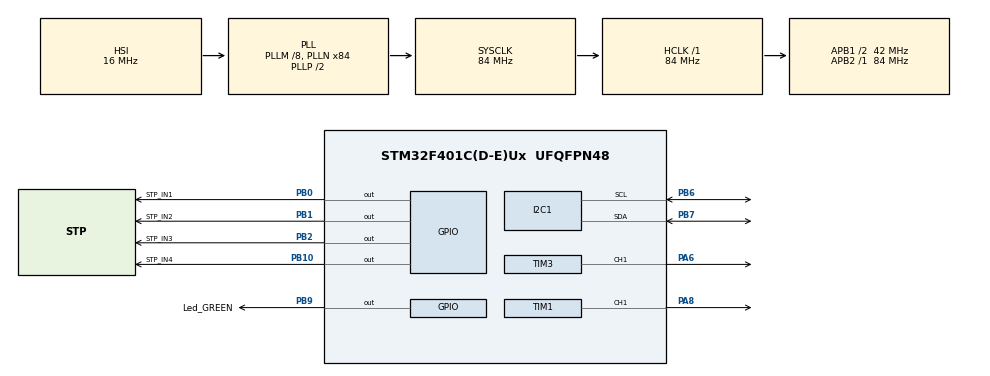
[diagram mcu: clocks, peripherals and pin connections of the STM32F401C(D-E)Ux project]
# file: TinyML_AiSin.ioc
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I2C1.I2C_Mode=I2C_Fast
Mcu.Family=STM32F4
Mcu.Name=STM32F401C(D-E)Ux
Mcu.Package=UFQFPN48
NVIC.PriorityGroup=NVIC_PRIORITYGROUP_4
NVIC.TIM1_BRK_TIM9_IRQn=true\:0\:0\:false\:false\:true\:true\:true\:true
NVIC.TIM1_CC_IRQn=true\:0\:0\:false\:false\:true\:true\:true\:true
NVIC.TIM1_TRG_COM_TIM11_IRQn=true\:0\:0\:false\:false\:true\:true\:true\:true
NVIC.TIM1_UP_TIM10_IRQn=true\:0\:0\:false\:false\:true\:true\:true\:true
PA13.Mode=Serial_Wire
PA13.Signal=SYS_JTMS-SWDIO
PA14.Mode=Serial_Wire
PA14.Signal=SYS_JTCK-SWCLK
PA6.GPIO_ModeDefaultPP=GPIO_MODE_AF_PP
PA6.GPIO_PuPd=GPIO_NOPULL
PA6.Signal=S_TIM3_CH1
PA8.Signal=S_TIM1_CH1
PB0.GPIO_Label=STP_IN1
PB0.Signal=GPIO_Output
PB1.GPIO_Label=STP_IN2
PB1.Signal=GPIO_Output
PB10.GPIO_Label=STP_IN4
PB10.Signal=GPIO_Output
PB2.GPIO_Label=STP_IN3
PB2.Signal=GPIO_Output
PB6.Mode=I2C
PB6.Signal=I2C1_SCL
PB7.Mode=I2C
PB7.Signal=I2C1_SDA
PB9.GPIO_Label=Led_GREEN
PB9.GPIO_ModeDefaultOutputPP=GPIO_MODE_OUTPUT_PP
PB9.Signal=GPIO_Output
PH0\ -\ OSC_IN.Mode=HSE-External-Oscillator
PH0\ -\ OSC_IN.Signal=RCC_OSC_IN
PH1\ -\ OSC_OUT.Mode=HSE-External-Oscillator
PH1\ -\ OSC_OUT.Signal=RCC_OSC_OUT
ProjectManager.HeapSize=0x800
ProjectManager.StackSize=0x800
ProjectManager.TargetToolchain=STM32CubeIDE
RCC.48MHZClocksFreq_Value=42000000
RCC.AHBFreq_Value=84000000
RCC.APB1CLKDivider=RCC_HCLK_DIV2
RCC.APB1Freq_Value=42000000
RCC.APB1TimFreq_Value=84000000
RCC.APB2Freq_Value=84000000
RCC.APB2TimFreq_Value=84000000
RCC.CortexFreq_Value=84000000
RCC.HCLKFreq_Value=84000000
RCC.HSE_VALUE=25000000
RCC.HSI_VALUE=16000000
RCC.LSE_VALUE=32768
RCC.PLLM=8
RCC.PLLN=84
RCC.SYSCLKFreq_VALUE=84000000
RCC.SYSCLKSource=RCC_SYSCLKSOURCE_PLLCLK
RCC.VCOOutputFreq_Value=168000000
SH.S_TIM1_CH1.0=TIM1_CH1,Output Compare1 CH1
SH.S_TIM3_CH1.0=TIM3_CH1,PWM Generation1 CH1
STMicroelectronics.X-CUBE-AI.10.2.0.ActivationBufferSizeList=2264
STMicroelectronics.X-CUBE-AI.10.2.0.ActivationBuffers=pool0
STMicroelectronics.X-CUBE-AI.10.2.0.ActivationNames=pool0
STMicroelectronics.X-CUBE-AI.10.2.0.ActivationSizes=AI_SINE_MODEL_OWN_DATA_ACTIVATION_1_SIZE
STMicroelectronics.X-CUBE-AI.10.2.0.HeapSize=0x800
STMicroelectronics.X-CUBE-AI.10.2.0.InternalRamActivationBufferMaxSize=AI_SINE_MODEL_OWN_DATA_ACTIVATIONS_SIZE
STMicroelectronics.X-CUBE-AI.10.2.0.LatestDirectoryUsed-19e0198becab38a640acdebe623655421296ad438e8c394f98320da885acce7a=C\:\\Users\\21syl\\Downloads
STMicroelectronics.X-CUBE-AI.10.2.0.MaximumNumberOfInputLayer=1
STMicroelectronics.X-CUBE-AI.10.2.0.MaximumNumberOfOutputLayer=1
STMicroelectronics.X-CUBE-AI.10.2.0.MaximumSizeOfInputLayer=1
STMicroelectronics.X-CUBE-AI.10.2.0.MaximumSizeOfOutputLayer=1
STMicroelectronics.X-CUBE-AI.10.2.0.ModelActualCompression-19e0198becab38a640acdebe623655421296ad438e8c394f98320da885acce7a=0.0
STMicroelectronics.X-CUBE-AI.10.2.0.ModelCompression-19e0198becab38a640acdebe623655421296ad438e8c394f98320da885acce7a=None
STMicroelectronics.X-CUBE-AI.10.2.0.ModelFlashOccupation-19e0198becab38a640acdebe623655421296ad438e8c394f98320da885acce7a=21853
STMicroelectronics.X-CUBE-AI.10.2.0.ModelHashList=19e0198becab38a640acdebe623655421296ad438e8c394f98320da885acce7a
STMicroelectronics.X-CUBE-AI.10.2.0.ModelKind-19e0198becab38a640acdebe623655421296ad438e8c394f98320da885acce7a=TFLITE
STMicroelectronics.X-CUBE-AI.10.2.0.ModelMacc-19e0198becab38a640acdebe623655421296ad438e8c394f98320da885acce7a=325
STMicroelectronics.X-CUBE-AI.10.2.0.ModelName-19e0198becab38a640acdebe623655421296ad438e8c394f98320da885acce7a=sine_model_own
STMicroelectronics.X-CUBE-AI.10.2.0.ModelNameList=sine_model_own
STMicroelectronics.X-CUBE-AI.10.2.0.ModelRamOccupation-19e0198becab38a640acdebe623655421296ad438e8c394f98320da885acce7a=2264
STMicroelectronics.X-CUBE-AI.10.2.0.ModelStructureFile-19e0198becab38a640acdebe623655421296ad438e8c394f98320da885acce7a=C\:\\Users\\21syl\\Downloads\\sine_model_quantized (1).tflite
STMicroelectronics.X-CUBE-AI.10.2.0.ModelType-19e0198becab38a640acdebe623655421296ad438e8c394f98320da885acce7a=STM32Cube.AI MCU runtime
STMicroelectronics.X-CUBE-AI.10.2.0.ReadyForCodeGeneration=true
STMicroelectronics.X-CUBE-AI.10.2.0.StackSize=0x800
STMicroelectronics.X-CUBE-AI.10.2.0.WorkingBufferStartAddrList=0xFFFFFFFF
STMicroelectronics.X-CUBE-AI.10.2.0.XAaCUBEAaAICcArtificialOoIntelligenceJjCore=true
STMicroelectronics.X-CUBE-AI.10.2.0.copyWeightToRam-19e0198becab38a640acdebe623655421296ad438e8c394f98320da885acce7a=false
STMicroelectronics.X-CUBE-AI.10.2.0.customLayerConfigEnabled-19e0198becab38a640acdebe623655421296ad438e8c394f98320da885acce7a=false
STMicroelectronics.X-CUBE-AI.10.2.0.noOnnxIoTranspose-19e0198becab38a640acdebe623655421296ad438e8c394f98320da885acce7a=false
STMicroelectronics.X-CUBE-AI.10.2.0.useInputAllocation-19e0198becab38a640acdebe623655421296ad438e8c394f98320da885acce7a=true
STMicroelectronics.X-CUBE-AI.10.2.0.useOutputAllocation-19e0198becab38a640acdebe623655421296ad438e8c394f98320da885acce7a=true
TIM1.AutoReloadPreload=TIM_AUTORELOAD_PRELOAD_ENABLE
TIM1.Channel-Output\ Compare1\ CH1=TIM_CHANNEL_1
TIM1.Period=33601
TIM1.Prescaler=49
TIM11.AutoReloadPreload=TIM_AUTORELOAD_PRELOAD_ENABLE
TIM11.Period=0xffff-1
TIM11.Prescaler=83
TIM3.AutoReloadPreload=TIM_AUTORELOAD_PRELOAD_ENABLE
TIM3.Channel-PWM\ Generation1\ CH1=TIM_CHANNEL_1
TIM3.OCMode_PWM-PWM\ Generation1\ CH1=TIM_OCMODE_PWM2
TIM3.Period=999
TIM3.Prescaler=83
VP_CRC_VS_CRC.Mode=CRC_Activate
VP_STMicroelectronics.X-CUBE-AI_VS_ArtificialOoIntelligenceJjXAaCUBEAaAI_10.2.0.Mode=ArtificialOoIntelligenceJjXAaCUBEAaAI
VP_TIM11_VS_ClockSourceINT.Mode=Enable_Timer
VP_TIM1_VS_ClockSourceINT.Mode=Internal
VP_TIM3_VS_ClockSourceINT.Mode=Internal
board=custom

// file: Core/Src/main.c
/* USER CODE BEGIN Header */
/**
  ******************************************************************************
  * @file           : main.c
  * @brief          : Main program body
  ******************************************************************************
  * @attention
  *
  * Copyright (c) 2025 STMicroelectronics.
  * All rights reserved.
  *
  * This software is licensed under terms that can be found in the LICENSE file
  * in the root directory of this software component.
  * If no LICENSE file comes with this software, it is provided AS-IS.
  *
  ******************************************************************************
  */
/* USER CODE END Header */
#include "main.h"

/* USER CODE BEGIN Includes */
#include "fonts.h"
#include "ssd1306.h"
#include "stdio.h"

#include "ai_datatypes_defines.h"
#include "ai_platform.h"
#include "sine_model_own.h"
#include "sine_model_own_data.h"
#include <math.h>

/* USER CODE END Includes */

CRC_HandleTypeDef hcrc;

I2C_HandleTypeDef hi2c1;

TIM_HandleTypeDef htim1;
TIM_HandleTypeDef htim3;
TIM_HandleTypeDef htim11;

void SystemClock_Config(void);
static void MX_GPIO_Init(void);
static void MX_CRC_Init(void);
static void MX_I2C1_Init(void);
static void MX_TIM1_Init(void);
static void MX_TIM11_Init(void);
static void MX_TIM3_Init(void);

/* USER CODE BEGIN 0 */

#define G_W (SSD1306_WIDTH)
#define G_H (SSD1306_HEIGHT)

static int16_t g_y[G_W];
static uint16_t g_head = 0;

static inline int clampi(int v, int lo, int hi) { return (v<lo)?lo:((v>hi)?hi:v); } // ogranicznik wartosci min/max

void Graph_Init(void)
{
    for (int i = 0; i < G_W; ++i) g_y[i] = G_H/2;
    g_head = 0;
    SSD1306_Clear();
    SSD1306_UpdateScreen();
}

void Graph_PushAndDraw(float y, float y_min, float y_max, const char *label, uint32_t dur)
{
    float norm = (y - y_min) / (y_max - y_min);
    int py = (int)((1.0f - norm) * (G_H - 1));
    py = clampi(py, 0, G_H-1);

    g_y[g_head] = py;
    g_head = (g_head + 1) % G_W;

    SSD1306_Fill(SSD1306_COLOR_BLACK);

    int mid = G_H/2;
    for (int x = 0; x < G_W; ++x)
        SSD1306_DrawPixel(x, mid, SSD1306_COLOR_WHITE);

    // Przewijanie
    int prevx = 0;
    int prevy = g_y[g_head % G_W];
    for (int i = 1; i < G_W; ++i) {
        int idx = (g_head + i) % G_W;
        int ypix = g_y[idx];
        SSD1306_DrawLine(prevx, prevy, i, ypix, SSD1306_COLOR_WHITE);
        prevx = i; prevy = ypix;
    }

    if (label) {
        SSD1306_GotoXY(0, 0);
        SSD1306_Puts((char*)label, &Font_7x10, 1);
    }
    char line[24];
   	  SSD1306_GotoXY(0, 50);
   	  snprintf(line, sizeof(line), "t=%l8 us", (unsigned long)dur);
   	  SSD1306_Puts(line, &Font_7x10, 1);
    SSD1306_UpdateScreen();
}

void HandleOutput()
{
	static uint8_t is_initialized = 0;

	if(!is_initialized)
	{
		HAL_GPIO_WritePin(GPIOA, Led_GREEN_Pin, GPIO_PIN_RESET);
		is_initialized = 1;
	}
}

static inline uint16_t pwm_from_y(float y, uint16_t arr)
{
    float t = (y + 1.0f) * 0.5f;
    if (t < 0.0f) t = 0.0f;
    if (t > 1.0f) t = 1.0f;
    return (uint16_t)(t * (float)arr);
}

/* USER CODE END 0 */

int main(void)
{

  /* USER CODE BEGIN 1 */
	char buff[50];

	int buf_len = 0;
	ai_error ai_err;
	ai_i32 nbatch;
	volatile uint32_t timestamp;
	float y_val;

	// memory used to hold intermediate values for neural network
	AI_ALIGNED(32) ai_u8 activations[AI_SINE_MODEL_OWN_DATA_ACTIVATIONS_SIZE];

	// Buffers used to store input and output tensors
	AI_ALIGNED(32) ai_float in_data[AI_SINE_MODEL_OWN_IN_1_SIZE_BYTES];
	AI_ALIGNED(32) ai_float out_data[AI_SINE_MODEL_OWN_OUT_1_SIZE_BYTES];

	// pointer to model
	ai_handle sine_model = AI_HANDLE_NULL;

	// initialize structs that hold pointers to data and infor about the data (tensors height, width, channels)
	ai_buffer ai_input[AI_SINE_MODEL_OWN_IN_NUM];
	ai_buffer ai_output[AI_SINE_MODEL_OWN_OUT_NUM];

	ai_network_params ai_params = {
			AI_SINE_MODEL_OWN_DATA_WEIGHTS(ai_sine_model_own_data_weights_get()),
			AI_SINE_MODEL_OWN_DATA_ACTIVATIONS(activations)
	};

	 const ai_buffer* in_desc  = ai_sine_model_own_inputs_get(sine_model, NULL);
	 const ai_buffer* out_desc = ai_sine_model_own_outputs_get(sine_model, NULL);

	 ai_input[0]  = in_desc[0];
	 ai_output[0] = out_desc[0];

	// set pointers to our data buffers
	//ai_input[0].shape.dims[0] = 1;
	ai_input[0].data = AI_HANDLE_PTR(in_data);
	//ai_output[0].shape.dims[0] = 1;
	ai_output[0].data = AI_HANDLE_PTR(out_data);

  /* USER CODE END 1 */

  /* MCU Configuration--------------------------------------------------------*/

  /* Reset of all peripherals, Initializes the Flash interface and the Systick. */
  HAL_Init();

  /* USER CODE BEGIN Init */
  Graph_Init();

  float x = 0.0f;
  const float step = 2.0f * (float)M_PI / 64.0f;

  /* USER CODE END Init */

  /* Configure the system clock */
  SystemClock_Config();

  /* Initialize all configured peripherals */
  MX_GPIO_Init();
  MX_CRC_Init();
  MX_I2C1_Init();
  MX_TIM1_Init();
  MX_TIM11_Init();
  MX_TIM3_Init();
  /* USER CODE BEGIN 2 */
  HAL_TIM_Base_Start(&htim11);
  HAL_TIM_PWM_Start(&htim3, TIM_CHANNEL_1); // PA6
  HAL_TIM_PWM_Start(&htim1, TIM_CHANNEL_1); // PA6
  HandleOutput();

  SSD1306_Init();
  SSD1306_Clear();
  int temp = 1;

  sprintf(buff,"AI_SINUS() ");
  SSD1306_GotoXY (0, 0);
  SSD1306_Puts (buff, &Font_11x18, 1);
  sprintf(buff," WELCOME!");
  SSD1306_GotoXY (0, 40);
  SSD1306_Puts (buff, &Font_11x18, 1);
  SSD1306_UpdateScreen();

  HAL_Delay(2000);
  SSD1306_Clear();

  // create instance of neural network
  ai_err = ai_sine_model_own_create(&sine_model, AI_SINE_MODEL_OWN_DATA_CONFIG);
  if(ai_err.type != AI_ERROR_CODE_NONE)
  {
	  sprintf(buff,"%dError: could not create a NN instance");
	  	SSD1306_Clear();
	  	SSD1306_GotoXY (0, 0);
	    SSD1306_Puts (buff, &Font_11x18, 1);
		SSD1306_UpdateScreen();
		while(true);
  }

  if(!ai_sine_model_own_init(sine_model, &ai_params))
  {
	  sprintf(buff,"%dError: could not initialize NN");
	  	SSD1306_Clear();
	    SSD1306_GotoXY (0, 0);
	    SSD1306_Puts (buff, &Font_11x18, 1);
		SSD1306_UpdateScreen();
		while(true);
  }

  /* USER CODE END 2 */

  /* Infinite loop */
  /* USER CODE BEGIN WHILE */
  while (1)
  {
	  ((ai_float*)ai_input[0].data)[0] = x;

	  timestamp = htim11.Instance->CNT;

	  nbatch = ai_sine_model_own_run(sine_model, &ai_input[0],&ai_output[0]);
	  if(nbatch != 1)
	  {
		  sprintf(buff,"Error: could not inference NN");
			SSD1306_Clear();
			SSD1306_GotoXY (0, 0);
			SSD1306_Puts (buff, &Font_11x18, 1);
			SSD1306_UpdateScreen();
			while(true);
	  }

	  y_val = ((float*)out_data)[0];
	  uint32_t dur = htim11.Instance->CNT - timestamp;

	  uint16_t arr = __HAL_TIM_GET_AUTORELOAD(&htim3);
	  __HAL_TIM_SET_COMPARE(&htim3, TIM_CHANNEL_1, pwm_from_y(y_val, arr));
	  uint16_t arr2 = __HAL_TIM_GET_AUTORELOAD(&htim1);
	  __HAL_TIM_SET_COMPARE(&htim1, TIM_CHANNEL_1, pwm_from_y(y_val, arr2));

	  Graph_PushAndDraw(y_val, -1.2f, 1.2f, "AI_SIN", dur);

	  x += step;
	  if (x > 2.0f * (float)M_PI) x -= 2.0f * (float)M_PI;

	  HAL_Delay(20);

  }
  /* USER CODE END 3 */
}

void SystemClock_Config(void)
{
  RCC_OscInitTypeDef RCC_OscInitStruct = {0};
  RCC_ClkInitTypeDef RCC_ClkInitStruct = {0};

  /** Configure the main internal regulator output voltage
  */
  __HAL_RCC_PWR_CLK_ENABLE();
  __HAL_PWR_VOLTAGESCALING_CONFIG(PWR_REGULATOR_VOLTAGE_SCALE2);

  /** Initializes the RCC Oscillators according to the specified parameters
  * in the RCC_OscInitTypeDef structure.
  */
  RCC_OscInitStruct.OscillatorType = RCC_OSCILLATORTYPE_HSI;
  RCC_OscInitStruct.HSIState = RCC_HSI_ON;
  RCC_OscInitStruct.HSICalibrationValue = RCC_HSICALIBRATION_DEFAULT;
  RCC_OscInitStruct.PLL.PLLState = RCC_PLL_ON;
  RCC_OscInitStruct.PLL.PLLSource = RCC_PLLSOURCE_HSI;
  RCC_OscInitStruct.PLL.PLLM = 8;
  RCC_OscInitStruct.PLL.PLLN = 84;
  RCC_OscInitStruct.PLL.PLLP = RCC_PLLP_DIV2;
  RCC_OscInitStruct.PLL.PLLQ = 4;
  if (HAL_RCC_OscConfig(&RCC_OscInitStruct) != HAL_OK)
  {
    Error_Handler();
  }

  /** Initializes the CPU, AHB and APB buses clocks
  */
  RCC_ClkInitStruct.ClockType = RCC_CLOCKTYPE_HCLK|RCC_CLOCKTYPE_SYSCLK
                              |RCC_CLOCKTYPE_PCLK1|RCC_CLOCKTYPE_PCLK2;
  RCC_ClkInitStruct.SYSCLKSource = RCC_SYSCLKSOURCE_PLLCLK;
  RCC_ClkInitStruct.AHBCLKDivider = RCC_SYSCLK_DIV1;
  RCC_ClkInitStruct.APB1CLKDivider = RCC_HCLK_DIV2;
  RCC_ClkInitStruct.APB2CLKDivider = RCC_HCLK_DIV1;

  if (HAL_RCC_ClockConfig(&RCC_ClkInitStruct, FLASH_LATENCY_2) != HAL_OK)
  {
    Error_Handler();
  }
}

static void MX_CRC_Init(void)
{

  hcrc.Instance = CRC;
  if (HAL_CRC_Init(&hcrc) != HAL_OK)
  {
    Error_Handler();
  }

}

static void MX_I2C1_Init(void)
{

  hi2c1.Instance = I2C1;
  hi2c1.Init.ClockSpeed = 400000;
  hi2c1.Init.DutyCycle = I2C_DUTYCYCLE_2;
  hi2c1.Init.OwnAddress1 = 0;
  hi2c1.Init.AddressingMode = I2C_ADDRESSINGMODE_7BIT;
  hi2c1.Init.DualAddressMode = I2C_DUALADDRESS_DISABLE;
  hi2c1.Init.OwnAddress2 = 0;
  hi2c1.Init.GeneralCallMode = I2C_GENERALCALL_DISABLE;
  hi2c1.Init.NoStretchMode = I2C_NOSTRETCH_DISABLE;
  if (HAL_I2C_Init(&hi2c1) != HAL_OK)
  {
    Error_Handler();
  }

}

static void MX_TIM1_Init(void)
{

  TIM_ClockConfigTypeDef sClockSourceConfig = {0};
  TIM_MasterConfigTypeDef sMasterConfig = {0};
  TIM_OC_InitTypeDef sConfigOC = {0};
  TIM_BreakDeadTimeConfigTypeDef sBreakDeadTimeConfig = {0};

  htim1.Instance = TIM1;
  htim1.Init.Prescaler = 49;
  htim1.Init.CounterMode = TIM_COUNTERMODE_UP;
  htim1.Init.Period = 33601;
  htim1.Init.ClockDivision = TIM_CLOCKDIVISION_DIV1;
  htim1.Init.RepetitionCounter = 0;
  htim1.Init.AutoReloadPreload = TIM_AUTORELOAD_PRELOAD_ENABLE;
  if (HAL_TIM_Base_Init(&htim1) != HAL_OK)
  {
    Error_Handler();
  }
  sClockSourceConfig.ClockSource = TIM_CLOCKSOURCE_INTERNAL;
  if (HAL_TIM_ConfigClockSource(&htim1, &sClockSourceConfig) != HAL_OK)
  {
    Error_Handler();
  }
  if (HAL_TIM_OC_Init(&htim1) != HAL_OK)
  {
    Error_Handler();
  }
  sMasterConfig.MasterOutputTrigger = TIM_TRGO_RESET;
  sMasterConfig.MasterSlaveMode = TIM_MASTERSLAVEMODE_DISABLE;
  if (HAL_TIMEx_MasterConfigSynchronization(&htim1, &sMasterConfig) != HAL_OK)
  {
    Error_Handler();
  }
  sConfigOC.OCMode = TIM_OCMODE_TIMING;
  sConfigOC.Pulse = 0;
  sConfigOC.OCPolarity = TIM_OCPOLARITY_HIGH;
  sConfigOC.OCNPolarity = TIM_OCNPOLARITY_HIGH;
  sConfigOC.OCFastMode = TIM_OCFAST_DISABLE;
  sConfigOC.OCIdleState = TIM_OCIDLESTATE_RESET;
  sConfigOC.OCNIdleState = TIM_OCNIDLESTATE_RESET;
  if (HAL_TIM_OC_ConfigChannel(&htim1, &sConfigOC, TIM_CHANNEL_1) != HAL_OK)
  {
    Error_Handler();
  }
  sBreakDeadTimeConfig.OffStateRunMode = TIM_OSSR_DISABLE;
  sBreakDeadTimeConfig.OffStateIDLEMode = TIM_OSSI_DISABLE;
  sBreakDeadTimeConfig.LockLevel = TIM_LOCKLEVEL_OFF;
  sBreakDeadTimeConfig.DeadTime = 0;
  sBreakDeadTimeConfig.BreakState = TIM_BREAK_DISABLE;
  sBreakDeadTimeConfig.BreakPolarity = TIM_BREAKPOLARITY_HIGH;
  sBreakDeadTimeConfig.AutomaticOutput = TIM_AUTOMATICOUTPUT_DISABLE;
  if (HAL_TIMEx_ConfigBreakDeadTime(&htim1, &sBreakDeadTimeConfig) != HAL_OK)
  {
    Error_Handler();
  }
  HAL_TIM_MspPostInit(&htim1);

}

static void MX_TIM3_Init(void)
{

  TIM_ClockConfigTypeDef sClockSourceConfig = {0};
  TIM_MasterConfigTypeDef sMasterConfig = {0};
  TIM_OC_InitTypeDef sConfigOC = {0};

  htim3.Instance = TIM3;
  htim3.Init.Prescaler = 83;
  htim3.Init.CounterMode = TIM_COUNTERMODE_UP;
  htim3.Init.Period = 999;
  htim3.Init.ClockDivision = TIM_CLOCKDIVISION_DIV1;
  htim3.Init.AutoReloadPreload = TIM_AUTORELOAD_PRELOAD_ENABLE;
  if (HAL_TIM_Base_Init(&htim3) != HAL_OK)
  {
    Error_Handler();
  }
  sClockSourceConfig.ClockSource = TIM_CLOCKSOURCE_INTERNAL;
  if (HAL_TIM_ConfigClockSource(&htim3, &sClockSourceConfig) != HAL_OK)
  {
    Error_Handler();
  }
  if (HAL_TIM_PWM_Init(&htim3) != HAL_OK)
  {
    Error_Handler();
  }
  sMasterConfig.MasterOutputTrigger = TIM_TRGO_RESET;
  sMasterConfig.MasterSlaveMode = TIM_MASTERSLAVEMODE_DISABLE;
  if (HAL_TIMEx_MasterConfigSynchronization(&htim3, &sMasterConfig) != HAL_OK)
  {
    Error_Handler();
  }
  sConfigOC.OCMode = TIM_OCMODE_PWM2;
  sConfigOC.Pulse = 0;
  sConfigOC.OCPolarity = TIM_OCPOLARITY_HIGH;
  sConfigOC.OCFastMode = TIM_OCFAST_DISABLE;
  if (HAL_TIM_PWM_ConfigChannel(&htim3, &sConfigOC, TIM_CHANNEL_1) != HAL_OK)
  {
    Error_Handler();
  }
  HAL_TIM_MspPostInit(&htim3);

}

static void MX_TIM11_Init(void)
{

  htim11.Instance = TIM11;
  htim11.Init.Prescaler = 83;
  htim11.Init.CounterMode = TIM_COUNTERMODE_UP;
  htim11.Init.Period = 0xffff-1;
  htim11.Init.ClockDivision = TIM_CLOCKDIVISION_DIV1;
  htim11.Init.AutoReloadPreload = TIM_AUTORELOAD_PRELOAD_ENABLE;
  if (HAL_TIM_Base_Init(&htim11) != HAL_OK)
  {
    Error_Handler();
  }

}

static void MX_GPIO_Init(void)
{
  GPIO_InitTypeDef GPIO_InitStruct = {0};

  /* GPIO Ports Clock Enable */
  __HAL_RCC_GPIOH_CLK_ENABLE();
  __HAL_RCC_GPIOA_CLK_ENABLE();
  __HAL_RCC_GPIOB_CLK_ENABLE();

  /*Configure GPIO pin Output Level */
  HAL_GPIO_WritePin(Led_GREEN_GPIO_Port, Led_GREEN_Pin, GPIO_PIN_RESET);

  /*Configure GPIO pin : Led_GREEN_Pin */
  GPIO_InitStruct.Pin = Led_GREEN_Pin;
  GPIO_InitStruct.Mode = GPIO_MODE_OUTPUT_PP;
  GPIO_InitStruct.Pull = GPIO_NOPULL;
  GPIO_InitStruct.Speed = GPIO_SPEED_FREQ_LOW;
  HAL_GPIO_Init(Led_GREEN_GPIO_Port, &GPIO_InitStruct);

}

void Error_Handler(void)
{
  __disable_irq();
  while (1)
  {
  }
}
